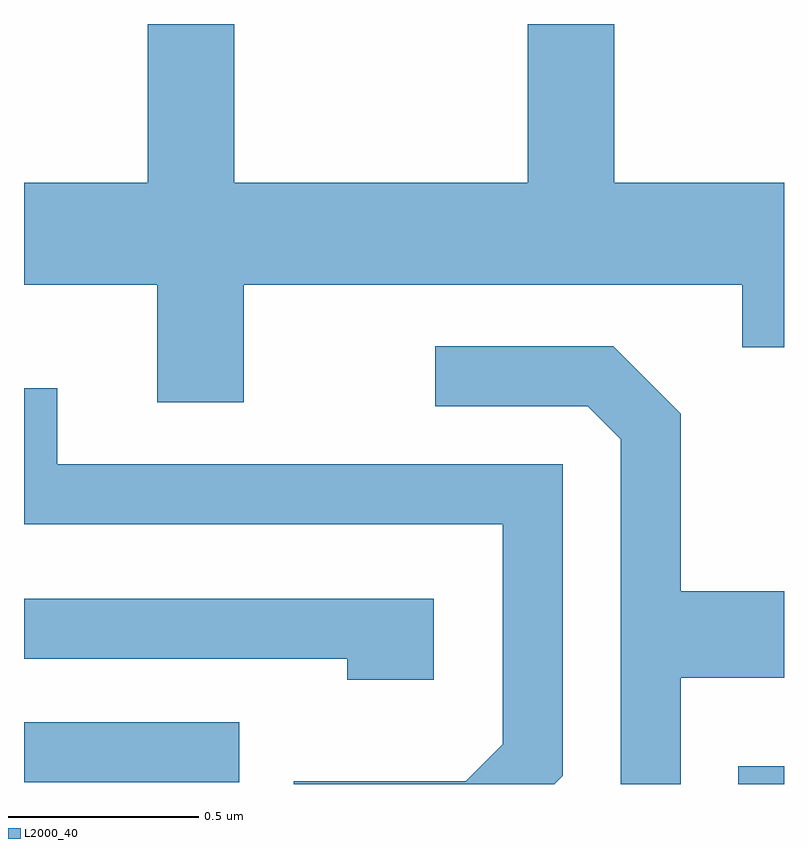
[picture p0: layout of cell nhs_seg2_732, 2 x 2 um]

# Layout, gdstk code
import gdstk
lib = gdstk.Library(unit=1e-6, precision=1e-09)
def R(c, l, rs):  # rectangles x0, y0, x1, y1
    for r in rs: c.add(gdstk.rectangle(r[:2], r[2:], *l))
def P(c, l, *ps):  # polygons
    for p in ps: c.add(gdstk.Polygon(p, *l))
L2000_40 = (2000, 40)

nhs_seg2_732 = lib.new_cell('nhs_seg2_732')
R(nhs_seg2_732, L2000_40, [(192.491,1024.802,192.611,1024.849), (190.611,1024.806,191.178,1024.964)])
P(nhs_seg2_732, L2000_40, [(191.189,1026.116),(192.501,1026.116),(192.501,1025.951),(192.611,1025.951),(192.611,1026.384),(192.164,1026.384),(192.164,1026.802),(191.936,1026.802),(191.936,1026.384),(191.164,1026.384),(191.164,1026.802),(190.936,1026.802),(190.936,1026.384),(190.611,1026.384),(190.611,1026.116),(190.961,1026.116),(190.961,1025.806),(191.189,1025.806)],
  [(192.339,1025.081),(192.611,1025.081),(192.611,1025.309),(192.339,1025.309),(192.339,1025.777),(192.162,1025.954),(191.693,1025.954),(191.693,1025.796),(192.094,1025.796),(192.181,1025.709),(192.181,1024.802),(192.339,1024.802)],
  [(192.029,1024.824),(192.029,1025.644),(190.699,1025.644),(190.699,1025.843),(190.611,1025.843),(190.611,1025.486),(191.871,1025.486),(191.871,1024.907),(191.774,1024.809),(191.321,1024.809),(191.321,1024.802),(192.007,1024.802)],
  [(191.689,1025.289),(190.611,1025.289),(190.611,1025.131),(191.461,1025.131),(191.461,1025.076),(191.689,1025.076)])

lib.write_gds('nhs_seg2_732.gds')
